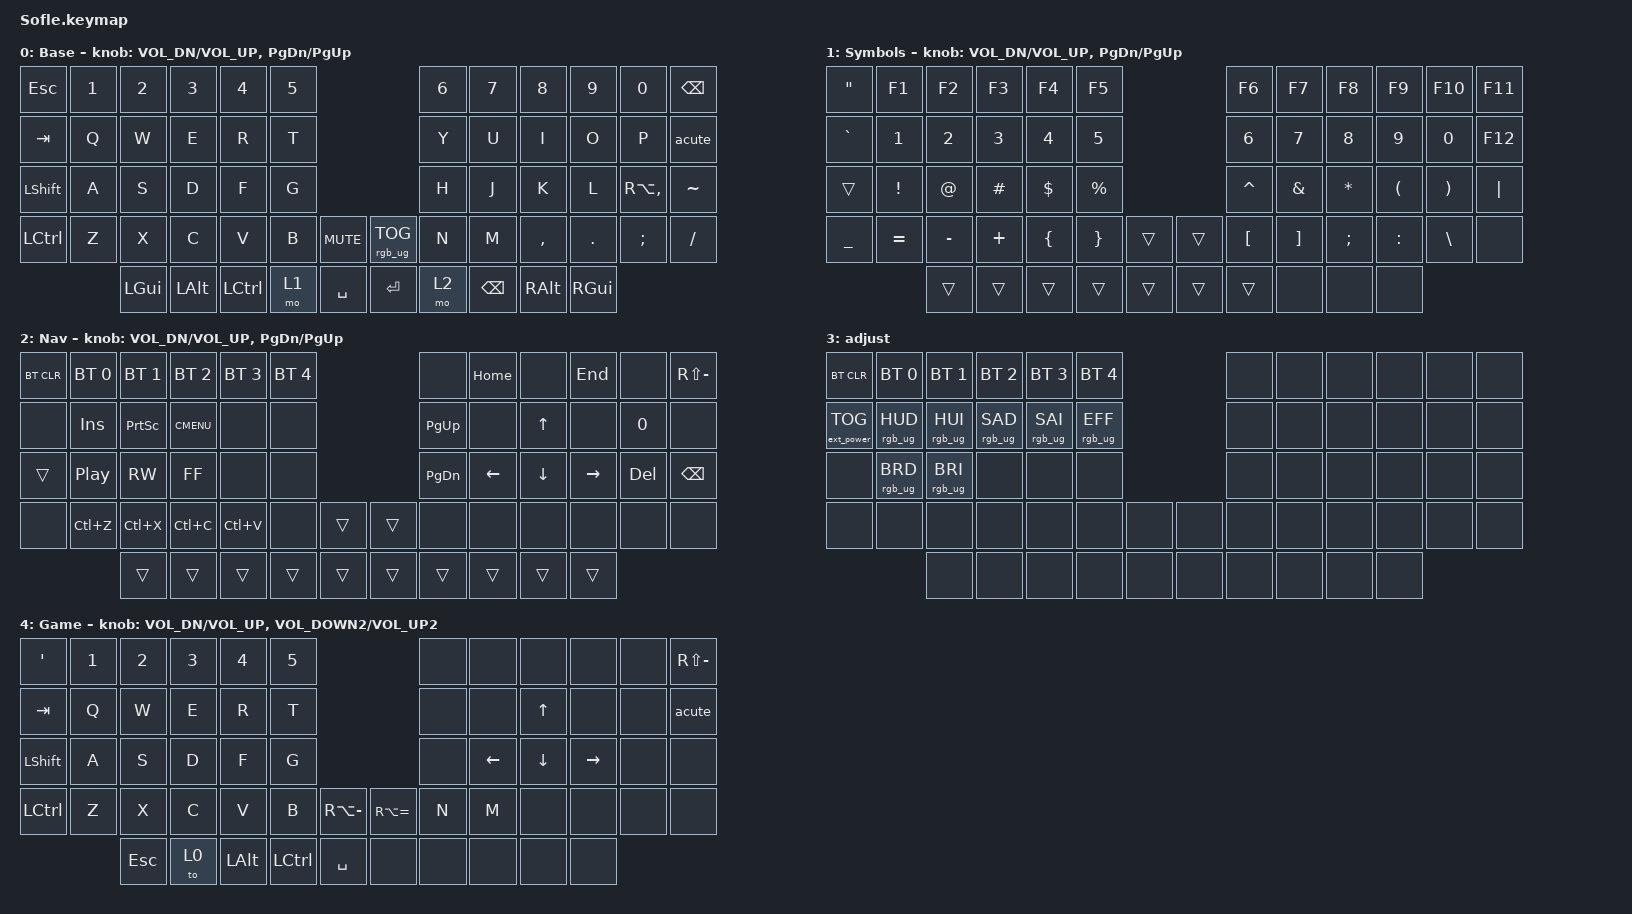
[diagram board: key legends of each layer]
/*
 * Copyright (c) 2020 The ZMK Contributors
 *
 * SPDX-License-Identifier: MIT
 */

#include <behaviors.dtsi>
#include <dt-bindings/zmk/bt.h>
#include <dt-bindings/zmk/ext_power.h>
#include <dt-bindings/zmk/keys.h>
#include <dt-bindings/zmk/rgb.h>

#define BASE 0
#define LOWER 1
#define RAISE 2
#define ADJUST 3

/ {
    // Activate ADJUST layer by pressing raise and lower

    conditional_layers {
        compatible = "zmk,conditional-layers";

        adjust_layer {
            if-layers = <1 2>;
            then-layer = <3>;
        };
    };

    behaviors {
        // ABNT2-style accent key for US-International: ' (acute) / shift: ` (grave)

        acute: acute_grave {
            compatible = "zmk,behavior-mod-morph";
            #binding-cells = <0>;
            bindings = <&kp SQT>, <&kp GRAVE>;

            mods = <(MOD_LSFT|MOD_RSFT)>;
        };
    };

    combos {
        compatible = "zmk,combos";

        caps {
            bindings = <&kp CAPSLOCK>;
            key-positions = <0 12>;
        };

        game_time {
            bindings = <&to 4>;
            key-positions = <6 7 5 4>;
        };

        normal_time {
            bindings = <&to 0>;
            key-positions = <28 29 30 31>;
        };

        deleter {
            bindings = <&kp DELETE>;
            key-positions = <10 11>;
        };
    };

    keymap {
        compatible = "zmk,keymap";

        default_layer {
            display-name = "Base";

            // ------------------------------------------------------------------------------------------------------------
            // |   `   |  1  |  2  |  3   |  4   |  5   |                   |  6   |  7    |  8    |  9   |   0   |       |
            // |  ESC  |  Q  |  W  |  E   |  R   |  T   |                   |  Y   |  U    |  I    |  O   |   P   | BKSPC |
            // |  TAB  |  A  |  S  |  D   |  F   |  G   |                   |  H   |  J    |  K    |  L   |   ;   |   '   |
            // | SHIFT |  Z  |  X  |  C   |  V   |  B   |  MUTE  |  |       |  N   |  M    |  ,    |  .   |   /   | SHIFT |
            //               | GUI | ALT  | CTRL | LOWER|  ENTER |  | SPACE | RAISE| CTRL  | ALT   | GUI  |

            bindings = <
&kp ESCAPE      &kp N1  &kp N2    &kp N3    &kp N4     &kp N5                           &kp N6  &kp N7         &kp N8     &kp N9    &kp N0         &kp BACKSPACE
&kp TAB         &kp Q   &kp W     &kp E     &kp R      &kp T                            &kp Y   &kp U          &kp I      &kp O     &kp P          &acute
&kp LEFT_SHIFT  &kp A   &kp S     &kp D     &kp F      &kp G                            &kp H   &kp J          &kp K      &kp L     &kp RA(COMMA)  &kp TILDE
&kp LCTRL       &kp Z   &kp X     &kp C     &kp V      &kp B   &kp C_MUTE    &rgb_ug RGB_TOG  &kp N   &kp M          &kp COMMA  &kp DOT   &kp SEMICOLON  &kp SLASH
                        &kp LGUI  &kp LALT  &kp LCTRL  &mo 1   &kp SPACE     &kp ENTER  &mo 2   &kp BACKSPACE  &kp RALT   &kp RGUI
            >;

            sensor-bindings =
                <&inc_dec_kp C_VOL_DN C_VOL_UP>,
                <&inc_dec_kp PG_DN PG_UP>;
        };

        lower_layer {
            display-name = "Symbols";

            // TODO: Some binds are waiting for shifted keycode support.
            // ------------------------------------------------------------------------------------------------------------
            // |       |  F1 |  F2 |  F3  |  F4  |  F5  |                   |  F6  |  F7   |  F8   |  F9  |  F10  |  F11  |
            // |   `   |  1  |  2  |  3   |  4   |  5   |                   |  6   |  7    |  8    |  9   |   0   |  F12  |
            // |       |  !  |  @  |  #   |  $   |  %   |                   |  ^   |  &    |  *    |  (   |   )   |   |   |
            // |       |  =  |  -  |  +   |  {   |  }   |        |  |       |  [   |  ]    |  ;    |  :   |   \   |       |
            //               |     |      |      |      |        |  |       |      |       |       |      |

            bindings = <
&kp DOUBLE_QUOTES  &kp F1     &kp F2     &kp F3    &kp F4    &kp F5                       &kp F6     &kp F7    &kp F8     &kp F9     &kp F10   &kp F11
&kp GRAVE          &kp N1     &kp N2     &kp N3    &kp N4    &kp N5                       &kp N6     &kp N7    &kp N8     &kp N9     &kp N0    &kp F12
&trans             &kp EXCL   &kp AT     &kp HASH  &kp DLLR  &kp PRCNT                    &kp CARET  &kp AMPS  &kp ASTRK  &kp LPAR   &kp RPAR  &kp PIPE
&kp UNDERSCORE     &kp EQUAL  &kp MINUS  &kp PLUS  &kp LBRC  &kp RBRC   &trans    &trans  &kp LBKT   &kp RBKT  &kp SEMI   &kp COLON  &kp BSLH  &none
                              &trans     &trans    &trans    &trans     &trans    &trans  &trans     &none     &none      &none
            >;

            sensor-bindings =
                <&inc_dec_kp C_VOL_DN C_VOL_UP>,
                <&inc_dec_kp PAGE_DOWN PG_UP>;
        };

        raise_layer {
            display-name = "Nav";

            // ------------------------------------------------------------------------------------------------------------
            // | BTCLR | BT1  | BT2  |  BT3  |  BT4  |  BT5 |                |      |      |       |      |       |       |
            // |       | INS  | PSCR | GUI   |       |      |                | PGUP |      |   ^   |      |       |       |
            // |       | ALT  | CTRL | SHIFT |       | CAPS |                | PGDN |   <- |   v   |  ->  |  DEL  | BKSPC |
            // |       | UNDO | CUT  | COPY  | PASTE |      |      |  |      |      |      |       |      |       |       |
            //                |      |       |       |      |      |  |      |      |      |       |      |

            bindings = <
&bt BT_CLR  &bt BT_SEL 0      &bt BT_SEL 1  &bt BT_SEL 2  &bt BT_SEL 3  &bt BT_SEL 4                    &none      &kp HOME  &none     &kp END    &none    &kp RS(MINUS)
&none       &kp INS           &kp PSCRN     &kp K_CMENU   &none         &none                           &kp PG_UP  &none     &kp UP    &none      &kp N0   &none
&trans      &kp C_PLAY_PAUSE  &kp C_RW      &kp C_FF      &none         &none                           &kp PG_DN  &kp LEFT  &kp DOWN  &kp RIGHT  &kp DEL  &kp BSPC
&none       &kp LC(Z)         &kp LC(X)     &kp LC(C)     &kp LC(V)     &none         &trans    &trans  &none      &none     &none     &none      &none    &none
                              &trans        &trans        &trans        &trans        &trans    &trans  &trans     &trans    &trans    &trans
            >;

            sensor-bindings =
                <&inc_dec_kp C_VOL_DN C_VOL_UP>,
                <&inc_dec_kp PG_DN PG_UP>;
        };

        adjust_layer {
            // ----------------------------------------------------------------------------------------------------------------------------
            // | BTCLR  |  BT1    |  BT2    |   BT3   |   BT4   |   BT5   |                  |      |      |       |      |       |       |
            // | EXTPWR | RGB_HUD | RGB_HUI | RGB_SAD | RGB_SAI | RGB_EFF |                  |      |      |       |      |       |       |
            // |        | RGB_BRD | RGB_BRI |         |         |         |                  |      |      |       |      |       |       |
            // |        |         |         |         |         |         | RGB_TOG | |      |      |      |       |      |       |       |
            //                    |         |         |         |         |         | |      |      |      |       |      |

            display-name = "adjust";
            bindings = <
&bt BT_CLR         &bt BT_SEL 0     &bt BT_SEL 1     &bt BT_SEL 2     &bt BT_SEL 3     &bt BT_SEL 4                     &none  &none  &none  &none  &none  &none
&ext_power EP_TOG  &rgb_ug RGB_HUD  &rgb_ug RGB_HUI  &rgb_ug RGB_SAD  &rgb_ug RGB_SAI  &rgb_ug RGB_EFF                  &none  &none  &none  &none  &none  &none
&none              &rgb_ug RGB_BRD  &rgb_ug RGB_BRI  &none            &none            &none                            &none  &none  &none  &none  &none  &none
&none              &none            &none            &none            &none            &none            &none    &none  &none  &none  &none  &none  &none  &none
                                    &none            &none            &none            &none            &none    &none  &none  &none  &none  &none
            >;
        };

        gametime {
            display-name = "Game";
            bindings = <
&kp SINGLE_QUOTE  &kp N1  &kp N2      &kp N3  &kp N4        &kp N5                                         &none  &none           &none           &none      &none  &kp RS(MINUS)
&kp TAB           &kp Q   &kp W       &kp E   &kp R         &kp T                                          &none  &none           &kp UP_ARROW    &none      &none  &acute
&kp LEFT_SHIFT    &kp A   &kp S       &kp D   &kp F         &kp G                                          &none  &kp LEFT_ARROW  &kp DOWN_ARROW  &kp RIGHT  &none  &none
&kp LCTRL         &kp Z   &kp X       &kp C   &kp V         &kp B             &kp RA(MINUS) &kp RA(EQUAL)  &kp N  &kp M           &none           &none      &none  &none
                          &kp ESCAPE  &to 0   &kp LEFT_ALT  &kp LEFT_CONTROL  &kp SPACE     &none          &none  &none           &none           &none
            >;

            sensor-bindings =
                <&inc_dec_kp C_VOL_DN C_VOLUME_UP>,
                <&inc_dec_kp K_VOLUME_DOWN2 K_VOL_UP2>;

            label = "fps";
        };
    };
};
